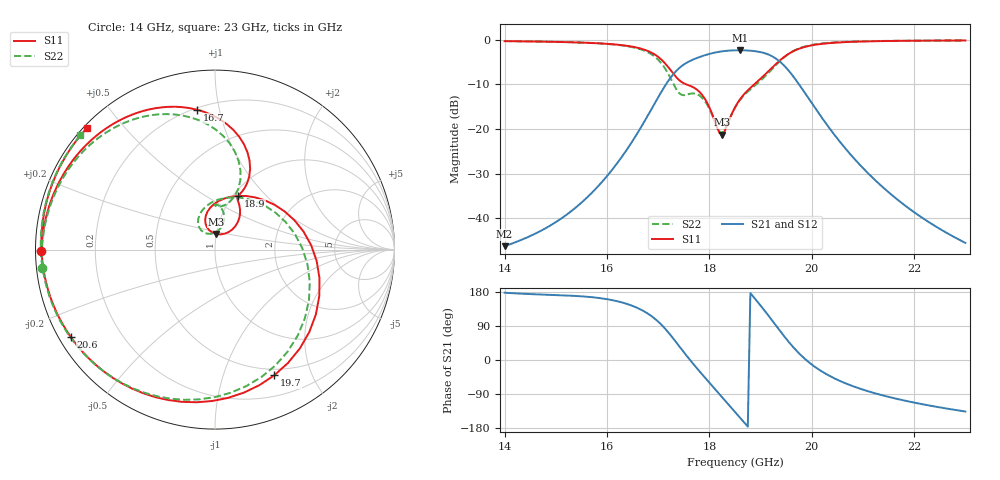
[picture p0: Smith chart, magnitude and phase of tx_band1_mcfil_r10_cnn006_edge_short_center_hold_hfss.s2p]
! Touchstone file exported from HFSS 3D Layout Design 2026.1.0
!  File:  D:/Work/SIM/ADS_AUTO_SIM/projects/RFSOC_RF/TX_Fillter.aedt
!  Generated:  11:43:56 PM Aug 30, 2026
!  Design:  TX_BAND1_MCFIL_R10_CNN006
!  Project:  TX_Fillter
# GHz S MA R 50.000000
! Terminal data exported
! Port[1] = Port1
! Port[2] = Port2
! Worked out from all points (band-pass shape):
!   181 points, 14 GHz to 23 GHz, reference 50 ohm
!   highest |S21| = -2.34 dB at 18.6 GHz (marker M1); lowest = -46.2 dB at 14 GHz (marker M2)
!   |S21| within 3 dB of the highest: 17.53 GHz to 19.42 GHz (1.893 GHz wide, 10.2 % of centre)
!   lowest |S11| = -21.2 dB at 18.25 GHz (marker M3), VSWR 1.19, Z = 50 + j8.72 ohm
!   |S11| at or under -10 dB: 17.55 GHz to 18.87 GHz (1.321 GHz wide, 7.25 % of centre)
!   |S22| runs from -20.8 to -0.1 dB; largest |S21 - S12| = 2.6e-15
!   S11 on the Smith chart (normalised r, x): 14 GHz: 0.02, -0.00; 16.7 GHz: 0.21, +0.86; 18.9 GHz: 1.05, +0.71; 19.7 GHz: 0.43, -1.49; 20.6 GHz: 0.03, -0.28; 23 GHz: 0.01, +0.40
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14  0.9667 -179.7  0.004887 177.5  0.004887 177.5  0.9684 -174.1
15.5  0.9314 145.1  0.015 168.1  0.015 168.1  0.9323 152.3
16.15  0.8877 123.5  0.03813 156.6  0.03813 156.6  0.8847 130.8
16.7  0.7855 97.2  0.1136 130.2  0.1136 130.2  0.7673 103.4
17  0.6435 77.9  0.2274 101.2  0.2274 101.2  0.5982 82.2
17.35  0.383 64.3  0.4471 47.0  0.4471 47.0  0.2817 72.5
17.55  0.3167 66.7  0.5511 12.1  0.5511 12.1  0.2425 89.1
17.7  0.2911 63.0  0.6077 -12.8  0.6077 -12.8  0.2511 88.0
17.95  0.2 50.4  0.6825 -52.2  0.6825 -52.2  0.1909 74.4
18.25  0.08692 85.1  0.7435 -98.6  0.7435 -98.6  0.09076 104.5
18.5  0.1751 108.2  0.7629 -137.0  0.7629 -137.0  0.1739 122.9
18.6  0.2163 101.1  0.7639 -152.4  0.7639 -152.4  0.2127 113.8
18.9  0.3261 66.6  0.7451 160.2  0.7451 160.2  0.3116 69.4
19.1  0.4154 36.9  0.7023 126.5  0.7023 126.5  0.3959 31.1
19.25  0.5034 11.5  0.6422 99.9  0.6422 99.9  0.4867 0.9
19.45  0.6362 -24.0  0.521 64.5  0.521 64.5  0.6301 -37.3
19.7  0.7742 -64.7  0.3483 24.6  0.3483 24.6  0.7802 -77.1
20  0.8678 -102.2  0.1955 -12.0  0.1955 -12.0  0.8784 -111.4
20.3  0.9141 -128.9  0.1109 -38.5  0.1109 -38.5  0.9236 -135.2
20.6  0.9393 -148.6  0.0664 -58.2  0.0664 -58.2  0.9467 -152.5
21.5  0.9708 173.3  0.01962 -97.3  0.01962 -97.3  0.9737 173.7
23  0.9835 136.6  0.00532 -136.0  0.00532 -136.0  0.9838 139.7
